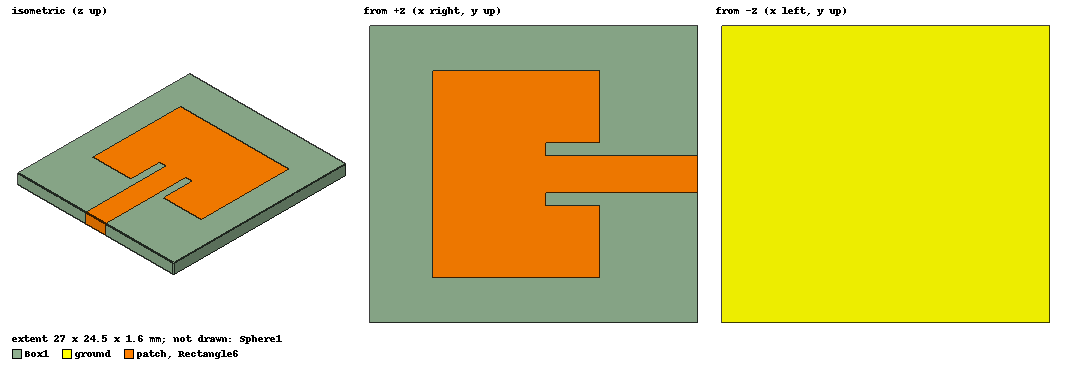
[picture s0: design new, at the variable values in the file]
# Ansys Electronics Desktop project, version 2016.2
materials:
  FR4_epoxy: permittivity=4.4 dielectric_loss_tangent=0.02
  vacuum: permittivity=1

design new (HFSS, DrivenModal, model units mm)
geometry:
  Box1 [FR4_epoxy] = box(corner=((-27/2) mm, (-24.5/2) mm, 0mm), size=(27mm, 24.5mm, 1.6mm))
  patch = rectangle(corner=(13.5mm, (3.1103/2) mm, 1.6mm), x_size=-8.0515mm, y_size=-3.1103mm)
  Rectangle2 = rectangle(corner=(5.4485mm, (17/2) mm, 1.6mm), x_size=-13.75mm, y_size=-17mm)
  Rectangle3 = rectangle(corner=(5.4485mm, 1.55515mm, 1.6mm), x_size=-4.5mm, y_size=1mm)
  Rectangle4 = rectangle(corner=(5.4485mm, -1.55515mm, 1.6mm), x_size=-4.5mm, y_size=-1mm)
  ground = rectangle(corner=(-13.5mm, 12.25mm, 0mm), x_size=27mm, y_size=-24.5mm)
  Rectangle6 = rectangle(corner=(13.5mm, -1.55515mm, 1.6mm), y_size=3.1103mm, z_size=-1.6mm)
  Sphere1 [vacuum] = sphere(centre=(0mm, 0mm, 0mm), radius=80mm)
  Rectangle2.subtract(Rectangle3, Rectangle4)
  patch.unite(Rectangle2)
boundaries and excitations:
  PerfE1: Perfect E Objects=patch
  PerfE2: Perfect E Objects=ground
  Rad1: Radiation Objects=Sphere1
  1: Lumped Port Objects=Rectangle6 Modes{Mode1{IntLine{middle of Rectangle6.edge(z opposite corner) -> middle of Rectangle6.edge(z at corner)} CharImp=Zpi RenormImp=50ohm}} FullResistance=50ohm FullReactance=0ohm
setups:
  Setup1: HfssDriven Frequency=5GHz MaxDeltaS=0.02 MaximumPasses=6 MinimumPasses=1 MinimumConvergedPasses=1 PercentRefinement=30 BasisOrder=1 PortAccuracy=2
    sweep Sweep: 1GHz to 10GHz step 0.1GHz; Type=Fast SaveFields
    sweep Sweep1: 1GHz to 6GHz step 0.1GHz; Type=Fast SaveFields
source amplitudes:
  1:1: 1W 0deg
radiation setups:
  Infinite Sphere1: Infinite Sphere Theta=-180deg..180deg step 10deg Phi=0deg..360deg step 10deg
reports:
  XY Plot 1: dB(S(1,1)) vs Freq on Setup1 : Sweep; markers m1 at 5GHz, MY1 at y=-10
  3D Polar Plot 1: dB(GainTotal) vs Phi, Theta on Setup1 : LastAdaptive, Infinite Sphere1 [Freq=5GHz]
  Radiation Pattern 1: dB(rETotal) vs Theta on Setup1 : LastAdaptive, Infinite Sphere1 [Phi=0deg,90deg Freq=5GHz]
  XY Plot 2: dB(S(1,1)) vs Freq on Setup1 : Sweep; markers m1 at 5GHz, MY1 at y=-10
